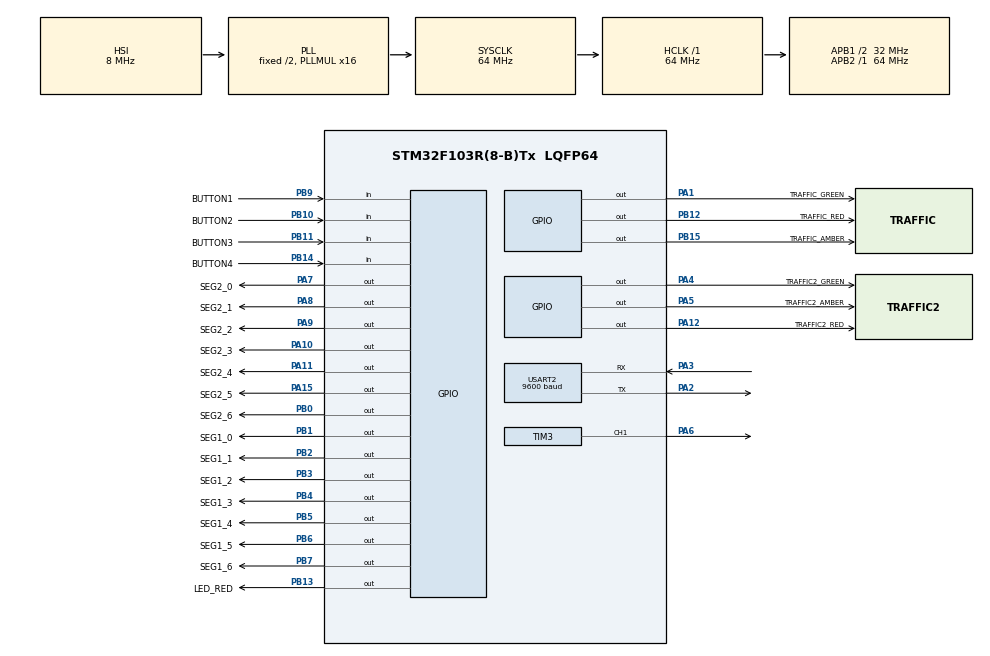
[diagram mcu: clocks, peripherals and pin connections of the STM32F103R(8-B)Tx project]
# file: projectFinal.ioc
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Mcu.Family=STM32F1
Mcu.Name=STM32F103R(8-B)Tx
Mcu.Package=LQFP64
NVIC.PriorityGroup=NVIC_PRIORITYGROUP_4
NVIC.TIM2_IRQn=true\:0\:0\:false\:false\:true\:true\:true\:true
NVIC.TIM3_IRQn=true\:0\:0\:false\:false\:true\:true\:true\:true
NVIC.USART2_IRQn=true\:0\:0\:false\:false\:true\:true\:true\:true
PA1.GPIO_Label=TRAFFIC_GREEN
PA1.Signal=GPIO_Output
PA10.GPIO_Label=SEG2_3
PA10.Signal=GPIO_Output
PA11.GPIO_Label=SEG2_4
PA11.Signal=GPIO_Output
PA12.GPIO_Label=TRAFFIC2_RED
PA12.Signal=GPIO_Output
PA13.Mode=Serial_Wire
PA13.Signal=SYS_JTMS-SWDIO
PA14.Mode=Serial_Wire
PA14.Signal=SYS_JTCK-SWCLK
PA15.GPIO_Label=SEG2_5
PA15.Signal=GPIO_Output
PA2.Mode=Asynchronous
PA2.Signal=USART2_TX
PA3.Mode=Asynchronous
PA3.Signal=USART2_RX
PA4.GPIO_Label=TRAFFIC2_GREEN
PA4.Signal=GPIO_Output
PA5.GPIO_Label=TRAFFIC2_AMBER
PA5.Signal=GPIO_Output
PA6.Signal=S_TIM3_CH1
PA7.GPIO_Label=SEG2_0
PA7.Signal=GPIO_Output
PA8.GPIO_Label=SEG2_1
PA8.Signal=GPIO_Output
PA9.GPIO_Label=SEG2_2
PA9.Signal=GPIO_Output
PB0.GPIO_Label=SEG2_6
PB0.Signal=GPIO_Output
PB1.GPIO_Label=SEG1_0
PB1.Signal=GPIO_Output
PB10.GPIO_Label=BUTTON2
PB10.Signal=GPIO_Input
PB11.GPIO_Label=BUTTON3
PB11.Signal=GPIO_Input
PB12.GPIO_Label=TRAFFIC_RED
PB12.Signal=GPIO_Output
PB13.GPIO_Label=LED_RED
PB13.Signal=GPIO_Output
PB14.GPIO_Label=BUTTON4
PB14.Signal=GPIO_Input
PB15.GPIO_Label=TRAFFIC_AMBER
PB15.Signal=GPIO_Output
PB2.GPIO_Label=SEG1_1
PB2.Signal=GPIO_Output
PB3.GPIO_Label=SEG1_2
PB3.Signal=GPIO_Output
PB4.GPIO_Label=SEG1_3
PB4.Signal=GPIO_Output
PB5.GPIO_Label=SEG1_4
PB5.Signal=GPIO_Output
PB6.GPIO_Label=SEG1_5
PB6.Signal=GPIO_Output
PB7.GPIO_Label=SEG1_6
PB7.Signal=GPIO_Output
PB9.GPIO_Label=BUTTON1
PB9.Signal=GPIO_Input
PD0-OSC_IN.Mode=HSE-External-Oscillator
PD0-OSC_IN.Signal=RCC_OSC_IN
PD1-OSC_OUT.Mode=HSE-External-Oscillator
PD1-OSC_OUT.Signal=RCC_OSC_OUT
ProjectManager.HeapSize=0x200
ProjectManager.StackSize=0x400
ProjectManager.TargetToolchain=STM32CubeIDE
RCC.ADCPresc=RCC_ADCPCLK2_DIV6
RCC.AHBFreq_Value=64000000
RCC.APB1CLKDivider=RCC_HCLK_DIV2
RCC.APB1Freq_Value=32000000
RCC.APB1TimFreq_Value=64000000
RCC.APB2Freq_Value=64000000
RCC.APB2TimFreq_Value=64000000
RCC.HCLKFreq_Value=64000000
RCC.PLLMUL=RCC_PLL_MUL16
RCC.SYSCLKFreq_VALUE=64000000
RCC.SYSCLKSource=RCC_SYSCLKSOURCE_PLLCLK
RCC.USBFreq_Value=64000000
SH.S_TIM3_CH1.0=TIM3_CH1,PWM Generation1 CH1
TIM2.Period=9999
TIM2.Prescaler=63
TIM3.Channel-PWM\ Generation1\ CH1=TIM_CHANNEL_1
TIM3.Period=9999
TIM3.Prescaler=63
USART2.BaudRate=9600
USART2.VirtualMode=VM_ASYNC
VP_TIM2_VS_ClockSourceINT.Mode=Internal
VP_TIM3_VS_ClockSourceINT.Mode=Internal
board=custom

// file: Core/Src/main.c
/* USER CODE BEGIN Header */
/**
 ******************************************************************************
 * @file           : main.c
 * @brief          : Main program body
 ******************************************************************************
 * @attention
 *
 * Copyright (c) 2022 STMicroelectronics.
 * All rights reserved.
 *
 * This software is licensed under terms that can be found in the LICENSE file
 * in the root directory of this software component.
 * If no LICENSE file comes with this software, it is provided AS-IS.
 *
 ******************************************************************************
 */
/* USER CODE END Header */
#include "main.h"

/* USER CODE BEGIN Includes */
#include "timer.h"
#include "global.h"
#include "input_processing.h"
#include "input_reading.h"
/* USER CODE END Includes */

TIM_HandleTypeDef htim2;
TIM_HandleTypeDef htim3;

UART_HandleTypeDef huart2;

void SystemClock_Config(void);
static void MX_GPIO_Init(void);
static void MX_TIM2_Init(void);
static void MX_USART2_UART_Init(void);
static void MX_TIM3_Init(void);

int main(void) {

	/* MCU Configuration--------------------------------------------------------*/

	/* Reset of all peripherals, Initializes the Flash interface and the Systick. */
	HAL_Init();

	/* Configure the system clock */
	SystemClock_Config();

	/* Initialize all configured peripherals */
	MX_GPIO_Init();
	MX_TIM2_Init();
	MX_USART2_UART_Init();
	MX_TIM3_Init();
	/* USER CODE BEGIN 2 */
	HAL_TIM_Base_Start_IT(&htim2);
	HAL_TIM_PWM_Start(&htim3, TIM_CHANNEL_1);
	/* USER CODE END 2 */

	/* Infinite loop */
	/* USER CODE BEGIN WHILE */
	setTimer1(51);
	setTimer2(49);
	setTimer3(97);
	fsm_init();
	while (1) {
		if (timer1_flag) {
			fsm_changeMode_btn1();
			fsm_changeLed_btn2();
			fsm_modifyTime_btn3();
			if (updateState() == AUTO_MODE) {
				setTimer1(100);
				fsm_traffic_led();
				fsm_pedestrian_btn4();
				display7SEG2(status_mode);
			} else {
				setTimer1(50);
				led_blink();
				display7SEG2(status_mode);
			}
		}
//		if (updateBuzzerState() == PEDES_MODE_ON) {
//			if (timer3_flag) {
//				setTimer3(100);
//				__HAL_TIM_SET_COMPARE(&htim3, TIM_CHANNEL_1, 0);
//			}
//			if (timer3_flag) {
//				setTimer3(150);
//				__HAL_TIM_SET_COMPARE(&htim3, TIM_CHANNEL_1,
//						50 + 5 * (10 - time));
//			}
//		}
//		if (timer2_flag) {
//			if (updateState() == AUTO_MODE) {
//				setTimer2(100);
//				fsm_pedestrian_btn4();
//			}
//		}
//		if (timer2_flag) {
//			setTimer2(100);
//			display7SEG1(time);
//			time--;
//			if (time <= 0) {
//				time = 0;
//			}
//		}
		/* USER CODE END WHILE */

	}
}

void SystemClock_Config(void) {
	RCC_OscInitTypeDef RCC_OscInitStruct = { 0 };
	RCC_ClkInitTypeDef RCC_ClkInitStruct = { 0 };

	/** Initializes the RCC Oscillators according to the specified parameters
	 * in the RCC_OscInitTypeDef structure.
	 */
	RCC_OscInitStruct.OscillatorType = RCC_OSCILLATORTYPE_HSI;
	RCC_OscInitStruct.HSIState = RCC_HSI_ON;
	RCC_OscInitStruct.HSICalibrationValue = RCC_HSICALIBRATION_DEFAULT;
	RCC_OscInitStruct.PLL.PLLState = RCC_PLL_ON;
	RCC_OscInitStruct.PLL.PLLSource = RCC_PLLSOURCE_HSI_DIV2;
	RCC_OscInitStruct.PLL.PLLMUL = RCC_PLL_MUL16;
	if (HAL_RCC_OscConfig(&RCC_OscInitStruct) != HAL_OK) {
		Error_Handler();
	}

	/** Initializes the CPU, AHB and APB buses clocks
	 */
	RCC_ClkInitStruct.ClockType = RCC_CLOCKTYPE_HCLK | RCC_CLOCKTYPE_SYSCLK
			| RCC_CLOCKTYPE_PCLK1 | RCC_CLOCKTYPE_PCLK2;
	RCC_ClkInitStruct.SYSCLKSource = RCC_SYSCLKSOURCE_PLLCLK;
	RCC_ClkInitStruct.AHBCLKDivider = RCC_SYSCLK_DIV1;
	RCC_ClkInitStruct.APB1CLKDivider = RCC_HCLK_DIV2;
	RCC_ClkInitStruct.APB2CLKDivider = RCC_HCLK_DIV1;

	if (HAL_RCC_ClockConfig(&RCC_ClkInitStruct, FLASH_LATENCY_2) != HAL_OK) {
		Error_Handler();
	}
}

static void MX_TIM2_Init(void) {

	TIM_ClockConfigTypeDef sClockSourceConfig = { 0 };
	TIM_MasterConfigTypeDef sMasterConfig = { 0 };

	htim2.Instance = TIM2;
	htim2.Init.Prescaler = 63;
	htim2.Init.CounterMode = TIM_COUNTERMODE_UP;
	htim2.Init.Period = 9999;
	htim2.Init.ClockDivision = TIM_CLOCKDIVISION_DIV1;
	htim2.Init.AutoReloadPreload = TIM_AUTORELOAD_PRELOAD_DISABLE;
	if (HAL_TIM_Base_Init(&htim2) != HAL_OK) {
		Error_Handler();
	}
	sClockSourceConfig.ClockSource = TIM_CLOCKSOURCE_INTERNAL;
	if (HAL_TIM_ConfigClockSource(&htim2, &sClockSourceConfig) != HAL_OK) {
		Error_Handler();
	}
	sMasterConfig.MasterOutputTrigger = TIM_TRGO_RESET;
	sMasterConfig.MasterSlaveMode = TIM_MASTERSLAVEMODE_DISABLE;
	if (HAL_TIMEx_MasterConfigSynchronization(&htim2, &sMasterConfig)
			!= HAL_OK) {
		Error_Handler();
	}

}

static void MX_TIM3_Init(void) {

	TIM_ClockConfigTypeDef sClockSourceConfig = { 0 };
	TIM_MasterConfigTypeDef sMasterConfig = { 0 };
	TIM_OC_InitTypeDef sConfigOC = { 0 };

	htim3.Instance = TIM3;
	htim3.Init.Prescaler = 63;
	htim3.Init.CounterMode = TIM_COUNTERMODE_UP;
	htim3.Init.Period = 9999;
	htim3.Init.ClockDivision = TIM_CLOCKDIVISION_DIV1;
	htim3.Init.AutoReloadPreload = TIM_AUTORELOAD_PRELOAD_DISABLE;
	if (HAL_TIM_Base_Init(&htim3) != HAL_OK) {
		Error_Handler();
	}
	sClockSourceConfig.ClockSource = TIM_CLOCKSOURCE_INTERNAL;
	if (HAL_TIM_ConfigClockSource(&htim3, &sClockSourceConfig) != HAL_OK) {
		Error_Handler();
	}
	if (HAL_TIM_PWM_Init(&htim3) != HAL_OK) {
		Error_Handler();
	}
	sMasterConfig.MasterOutputTrigger = TIM_TRGO_RESET;
	sMasterConfig.MasterSlaveMode = TIM_MASTERSLAVEMODE_DISABLE;
	if (HAL_TIMEx_MasterConfigSynchronization(&htim3, &sMasterConfig)
			!= HAL_OK) {
		Error_Handler();
	}
	sConfigOC.OCMode = TIM_OCMODE_PWM1;
	sConfigOC.Pulse = 0;
	sConfigOC.OCPolarity = TIM_OCPOLARITY_HIGH;
	sConfigOC.OCFastMode = TIM_OCFAST_DISABLE;
	if (HAL_TIM_PWM_ConfigChannel(&htim3, &sConfigOC, TIM_CHANNEL_1)
			!= HAL_OK) {
		Error_Handler();
	}
	HAL_TIM_MspPostInit(&htim3);

}

static void MX_USART2_UART_Init(void) {

	huart2.Instance = USART2;
	huart2.Init.BaudRate = 9600;
	huart2.Init.WordLength = UART_WORDLENGTH_8B;
	huart2.Init.StopBits = UART_STOPBITS_1;
	huart2.Init.Parity = UART_PARITY_NONE;
	huart2.Init.Mode = UART_MODE_TX_RX;
	huart2.Init.HwFlowCtl = UART_HWCONTROL_NONE;
	huart2.Init.OverSampling = UART_OVERSAMPLING_16;
	if (HAL_UART_Init(&huart2) != HAL_OK) {
		Error_Handler();
	}

}

static void MX_GPIO_Init(void) {
	GPIO_InitTypeDef GPIO_InitStruct = { 0 };

	/* GPIO Ports Clock Enable */
	__HAL_RCC_GPIOD_CLK_ENABLE();
	__HAL_RCC_GPIOA_CLK_ENABLE();
	__HAL_RCC_GPIOB_CLK_ENABLE();

	/*Configure GPIO pin Output Level */
	HAL_GPIO_WritePin(GPIOA,
			TRAFFIC_GREEN_Pin | TRAFFIC2_GREEN_Pin | TRAFFIC2_AMBER_Pin
					| SEG2_0_Pin | SEG2_1_Pin | SEG2_2_Pin | SEG2_3_Pin
					| SEG2_4_Pin | TRAFFIC2_RED_Pin | SEG2_5_Pin,
			GPIO_PIN_RESET);

	/*Configure GPIO pin Output Level */
	HAL_GPIO_WritePin(GPIOB,
			SEG2_6_Pin | SEG1_0_Pin | SEG1_1_Pin | TRAFFIC_RED_Pin | LED_RED_Pin
					| TRAFFIC_AMBER_Pin | SEG1_2_Pin | SEG1_3_Pin | SEG1_4_Pin
					| SEG1_5_Pin | SEG1_6_Pin, GPIO_PIN_RESET);

	/*Configure GPIO pins : TRAFFIC_GREEN_Pin TRAFFIC2_GREEN_Pin TRAFFIC2_AMBER_Pin SEG2_0_Pin
	 SEG2_1_Pin SEG2_2_Pin SEG2_3_Pin SEG2_4_Pin
	 TRAFFIC2_RED_Pin SEG2_5_Pin */
	GPIO_InitStruct.Pin = TRAFFIC_GREEN_Pin | TRAFFIC2_GREEN_Pin
			| TRAFFIC2_AMBER_Pin | SEG2_0_Pin | SEG2_1_Pin | SEG2_2_Pin
			| SEG2_3_Pin | SEG2_4_Pin | TRAFFIC2_RED_Pin | SEG2_5_Pin;
	GPIO_InitStruct.Mode = GPIO_MODE_OUTPUT_PP;
	GPIO_InitStruct.Pull = GPIO_NOPULL;
	GPIO_InitStruct.Speed = GPIO_SPEED_FREQ_LOW;
	HAL_GPIO_Init(GPIOA, &GPIO_InitStruct);

	/*Configure GPIO pins : SEG2_6_Pin SEG1_0_Pin SEG1_1_Pin TRAFFIC_RED_Pin
	 LED_RED_Pin TRAFFIC_AMBER_Pin SEG1_2_Pin SEG1_3_Pin
	 SEG1_4_Pin SEG1_5_Pin SEG1_6_Pin */
	GPIO_InitStruct.Pin = SEG2_6_Pin | SEG1_0_Pin | SEG1_1_Pin | TRAFFIC_RED_Pin
			| LED_RED_Pin | TRAFFIC_AMBER_Pin | SEG1_2_Pin | SEG1_3_Pin
			| SEG1_4_Pin | SEG1_5_Pin | SEG1_6_Pin;
	GPIO_InitStruct.Mode = GPIO_MODE_OUTPUT_PP;
	GPIO_InitStruct.Pull = GPIO_NOPULL;
	GPIO_InitStruct.Speed = GPIO_SPEED_FREQ_LOW;
	HAL_GPIO_Init(GPIOB, &GPIO_InitStruct);

	/*Configure GPIO pins : BUTTON2_Pin BUTTON3_Pin BUTTON4_Pin BUTTON1_Pin */
	GPIO_InitStruct.Pin = BUTTON2_Pin | BUTTON3_Pin | BUTTON4_Pin | BUTTON1_Pin;
	GPIO_InitStruct.Mode = GPIO_MODE_INPUT;
	GPIO_InitStruct.Pull = GPIO_NOPULL;
	HAL_GPIO_Init(GPIOB, &GPIO_InitStruct);

}

/* USER CODE BEGIN 4 */
void HAL_TIM_PeriodElapsedCallback(TIM_HandleTypeDef *htim) {
	timerRun();
	button_reading();
}

/* USER CODE END 4 */

void Error_Handler(void) {
	__disable_irq();
	while (1) {
	}
}
